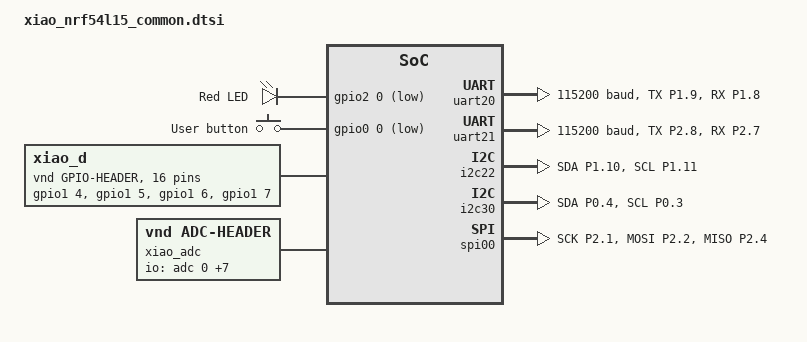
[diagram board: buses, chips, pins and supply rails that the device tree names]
/*
 * Common definitions for Seeed Xiao nRF54L15
 */

/ {
    leds {
        compatible = "gpio-leds";
        led0: led_0 {
            gpios = <&gpio2 0 GPIO_ACTIVE_LOW>;
            label = "Red LED";
        };
    };

    buttons {
        compatible = "gpio-keys";

        sw0: button_0 {
            gpios = <&gpio0 0 GPIO_ACTIVE_LOW>;
            label = "User button";
        };
    };

    aliases {
        led0 = &led0;
        sw0 = &sw0;

        xiao_i2c = &i2c22;
        xiao_i2c1 = &i2c30;
        xiao_spi = &spi00;
        xiao_serial = &uart21;
    };

    /* Xiao Connector Mappings */
    xiao_d: xiao_connector {
        compatible = "vnd,gpio-header";
        #gpio-cells = <2>;
        gpio-map-mask = <0xffffffff 0xffffffc0>;
        gpio-map-pass-thru = <0 0x3f>;
        gpio-map = 
            <0 0 &gpio1 4 0>,  /* D0 */
            <1 0 &gpio1 5 0>,  /* D1 */
            <2 0 &gpio1 6 0>,  /* D2 */
            <3 0 &gpio1 7 0>,  /* D3 */
            <4 0 &gpio1 10 0>, /* D4 (SDA) */
            <5 0 &gpio1 11 0>, /* D5 (SCL) */
            <6 0 &gpio2 8 0>,  /* D6 (TX) */
            <7 0 &gpio2 7 0>,  /* D7 (RX) */
            <8 0 &gpio2 1 0>,  /* D8 (SCK) */
            <9 0 &gpio2 4 0>,  /* D9 (MISO) */
            <10 0 &gpio2 2 0>, /* D10 (MOSI) */
            <11 0 &gpio0 3 0>, /* D11 (SCL1) */
            <12 0 &gpio0 4 0>, /* D12 (SDA1) */
            <13 0 &gpio2 10 0>,/* D13 */
            <14 0 &gpio2 9 0>, /* D14 */
            <15 0 &gpio2 6 0>; /* D15 */
    };
    
    xiao_adc: xiao_adc_connector {
         compatible = "vnd,adc-header";
         io-channels = 
            <&adc 0>, /* A0 */
            <&adc 1>, /* A1 */
            <&adc 2>, /* A2 */
            <&adc 3>, /* A3 */
            <&adc 4>, /* A4 */
            <&adc 5>, /* A5 */
            <&adc 6>, /* A6 */
            <&adc 7>; /* A7 */
    };
};

&uart20 {
    status = "okay";
    current-speed = <115200>;
    pinctrl-0 = <&uart20_default>;
    pinctrl-1 = <&uart20_sleep>;
    pinctrl-names = "default", "sleep";
};

&uart21 {
    status = "okay";
    current-speed = <115200>;
    pinctrl-0 = <&uart21_default>;
    pinctrl-1 = <&uart21_sleep>;
    pinctrl-names = "default", "sleep";
};

&i2c22 {
    status = "okay";
    pinctrl-0 = <&i2c22_default>;
    pinctrl-1 = <&i2c22_sleep>;
    pinctrl-names = "default", "sleep";
};

&i2c30 {
    status = "okay";
    pinctrl-0 = <&i2c30_default>;
    pinctrl-1 = <&i2c30_sleep>;
    pinctrl-names = "default", "sleep";
};

&spi00 {
    status = "okay";
    pinctrl-0 = <&spi00_default>;
    pinctrl-1 = <&spi00_sleep>;
    pinctrl-names = "default", "sleep";
};

&pinctrl {
    uart20_default: uart20_default {
        group1 {
            psels = <NRF_PSEL(UART_TX, 1, 9)>,
                    <NRF_PSEL(UART_RX, 1, 8)>;
        };
    };

    uart20_sleep: uart20_sleep {
        group1 {
            psels = <NRF_PSEL(UART_TX, 1, 9)>,
                    <NRF_PSEL(UART_RX, 1, 8)>;
            low-power-enable;
        };
    };

    uart21_default: uart21_default {
        group1 {
            psels = <NRF_PSEL(UART_TX, 2, 8)>,
                    <NRF_PSEL(UART_RX, 2, 7)>;
        };
    };

    uart21_sleep: uart21_sleep {
        group1 {
            psels = <NRF_PSEL(UART_TX, 2, 8)>,
                    <NRF_PSEL(UART_RX, 2, 7)>;
            low-power-enable;
        };
    };

    i2c22_default: i2c22_default {
        group1 {
            psels = <NRF_PSEL(TWIM_SDA, 1, 10)>,
                    <NRF_PSEL(TWIM_SCL, 1, 11)>;
        };
    };

    i2c22_sleep: i2c22_sleep {
        group1 {
            psels = <NRF_PSEL(TWIM_SDA, 1, 10)>,
                    <NRF_PSEL(TWIM_SCL, 1, 11)>;
            low-power-enable;
        };
    };

    i2c30_default: i2c30_default {
        group1 {
            psels = <NRF_PSEL(TWIM_SDA, 0, 4)>,
                    <NRF_PSEL(TWIM_SCL, 0, 3)>;
        };
    };

    i2c30_sleep: i2c30_sleep {
        group1 {
            psels = <NRF_PSEL(TWIM_SDA, 0, 4)>,
                    <NRF_PSEL(TWIM_SCL, 0, 3)>;
            low-power-enable;
        };
    };

    spi00_default: spi00_default {
        group1 {
            psels = <NRF_PSEL(SPIM_SCK, 2, 1)>,
                    <NRF_PSEL(SPIM_MOSI, 2, 2)>,
                    <NRF_PSEL(SPIM_MISO, 2, 4)>;
        };
    };

    spi00_sleep: spi00_sleep {
        group1 {
            psels = <NRF_PSEL(SPIM_SCK, 2, 1)>,
                    <NRF_PSEL(SPIM_MOSI, 2, 2)>,
                    <NRF_PSEL(SPIM_MISO, 2, 4)>;
            low-power-enable;
        };
    };
};
